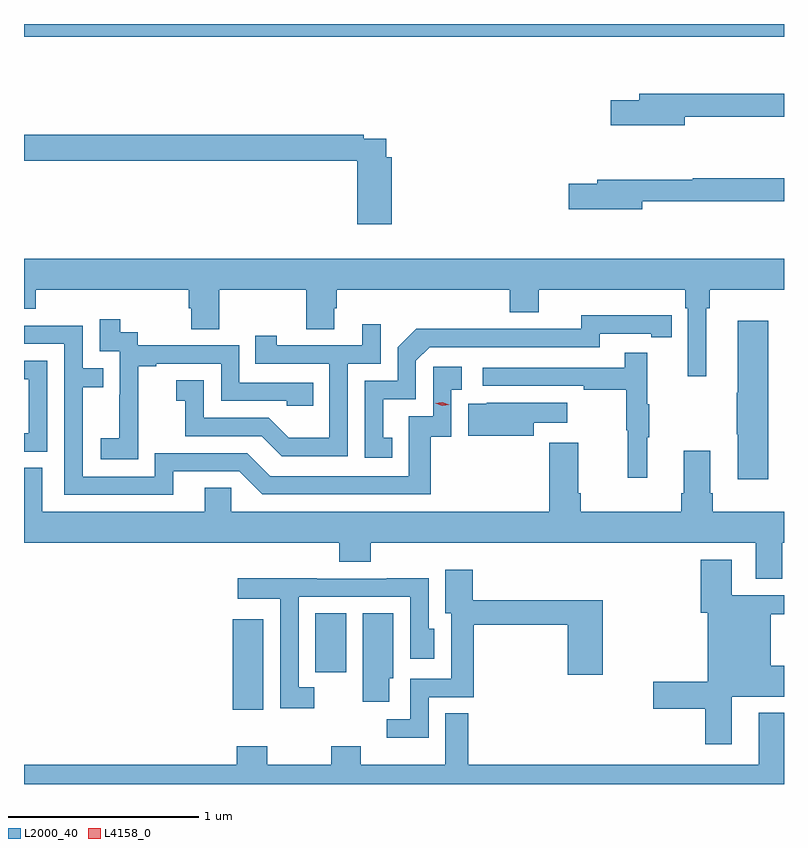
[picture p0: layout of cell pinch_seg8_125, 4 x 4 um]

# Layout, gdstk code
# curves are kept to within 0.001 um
import gdstk
lib = gdstk.Library(unit=1e-6, precision=1e-09)
def R(c, l, rs):  # rectangles x0, y0, x1, y1
    for r in rs: c.add(gdstk.rectangle(r[:2], r[2:], *l))
def P(c, l, *ps):  # polygons
    for p in ps: c.add(gdstk.Polygon(p, *l))
L2000_40 = (2000, 40)
L4158_0 = (4158, 0)

pinch_seg8_125 = lib.new_cell('pinch_seg8_125')
R(pinch_seg8_125, L2000_40, [(744.542,1154.25,744.703,1154.725), (744.977,1154.448,745.138,1154.759), (743.443,1157.792,747.443,1157.859)])
P(pinch_seg8_125, L2000_40, [(746.92,1157.37),(747.443,1157.37),(747.443,1157.491),(746.681,1157.491),(746.681,1157.457),(746.532,1157.457),(746.532,1157.327),(746.92,1157.327)],
  [(745.379,1157.158),(745.349,1157.158),(745.349,1157.256),(745.232,1157.256),(745.232,1157.276),(743.443,1157.276),(743.443,1157.14),(745.196,1157.14),(745.196,1156.806),(745.379,1156.806)],
  [(746.698,1156.926),(747.443,1156.926),(747.443,1157.047),(746.963,1157.047),(746.963,1157.039),(746.459,1157.039),(746.459,1157.018),(746.31,1157.018),(746.31,1156.883),(746.698,1156.883)],
  [(747.034,1156.364),(747.053,1156.364),(747.053,1156.46),(747.443,1156.46),(747.443,1156.624),(743.443,1156.624),(743.443,1156.361),(743.504,1156.361),(743.504,1156.46),(744.311,1156.46),(744.311,1156.362),(744.323,1156.362),(744.323,1156.252),(744.471,1156.252),(744.471,1156.46),(744.928,1156.46),(744.928,1156.252),(745.075,1156.252),(745.075,1156.362),(745.088,1156.362),(745.088,1156.46),(746,1156.46),(746,1156.343),(746.152,1156.343),(746.152,1156.46),(746.924,1156.46),(746.924,1156.364),(746.937,1156.364),(746.937,1156.005),(747.034,1156.005)],
  [(745.382,1155.681),(745.333,1155.681),(745.333,1155.885),(745.506,1155.885),(745.506,1156.086),(745.578,1156.158),(746.472,1156.158),(746.472,1156.23),(746.744,1156.23),(746.744,1156.21),(746.852,1156.21),(746.852,1156.326),(746.376,1156.327),(746.376,1156.254),(745.916,1156.254),(745.916,1156.256),(745.508,1156.256),(745.41,1156.158),(745.41,1155.981),(745.236,1155.981),(745.236,1155.576),(745.382,1155.576)],
  [(744.045,1155.775),(744.044,1155.775),(744.044,1156.059),(744.139,1156.059),(744.139,1156.071),(744.48,1156.071),(744.48,1155.876),(744.825,1155.876),(744.825,1155.849),(744.965,1155.849),(744.965,1155.972),(744.576,1155.972),(744.576,1156.167),(744.042,1156.167),(744.042,1156.236),(743.95,1156.236),(743.95,1156.306),(743.841,1156.306),(743.841,1156.137),(743.946,1156.137),(743.946,1155.908),(743.945,1155.908),(743.945,1155.679),(743.847,1155.679),(743.847,1155.569),(744.045,1155.569)],
  [(747.359,1156.297),(747.2,1156.297),(747.2,1155.917),(747.193,1155.917),(747.193,1155.7),(747.2,1155.7),(747.2,1155.462),(747.359,1155.462)],
  [(745.146,1156.071),(745.32,1156.071),(745.32,1156.279),(745.223,1156.279),(745.223,1156.167),(744.772,1156.167),(744.772,1156.219),(744.661,1156.219),(744.661,1156.071),(745.05,1156.071),(745.05,1155.682),(744.836,1155.682),(744.732,1155.786),(744.39,1155.786),(744.39,1155.985),(744.243,1155.985),(744.243,1155.875),(744.292,1155.875),(744.292,1155.69),(744.695,1155.69),(744.8,1155.585),(745.146,1155.585)],
  [(744.229,1155.504),(744.576,1155.504),(744.696,1155.384),(745.583,1155.384),(745.583,1155.687),(745.692,1155.687),(745.692,1155.934),(745.747,1155.934),(745.747,1156.054),(745.596,1156.054),(745.596,1155.795),(745.467,1155.795),(745.467,1155.48),(744.738,1155.48),(744.618,1155.6),(744.132,1155.6),(744.132,1155.477),(743.751,1155.477),(743.751,1155.946),(743.861,1155.946),(743.861,1156.047),(743.751,1156.047),(743.751,1156.272),(743.443,1156.272),(743.443,1156.176),(743.655,1156.176),(743.655,1155.381),(744.229,1155.381)],
  [(746.723,1155.683),(746.734,1155.683),(746.734,1155.857),(746.723,1155.857),(746.723,1156.129),(746.605,1156.129),(746.605,1156.05),(745.857,1156.05),(745.857,1155.954),(746.389,1155.954),(746.389,1155.934),(746.613,1155.934),(746.613,1155.72),(746.62,1155.72),(746.62,1155.471),(746.723,1155.471)],
  [(743.565,1156.086),(743.443,1156.086),(743.443,1155.99),(743.469,1155.99),(743.469,1155.705),(743.443,1155.705),(743.443,1155.609),(743.565,1155.609)],
  [(746.125,1155.761),(746.302,1155.761),(746.302,1155.865),(745.878,1155.865),(745.878,1155.861),(745.782,1155.861),(745.782,1155.692),(746.125,1155.692)],
  [(747.433,1155.128),(747.443,1155.128),(747.443,1155.292),(747.068,1155.292),(747.068,1155.388),(747.055,1155.388),(747.055,1155.613),(746.915,1155.613),(746.915,1155.388),(746.903,1155.388),(746.903,1155.292),(746.372,1155.292),(746.372,1155.388),(746.359,1155.388),(746.359,1155.655),(746.207,1155.655),(746.207,1155.292),(744.534,1155.292),(744.534,1155.419),(744.395,1155.419),(744.395,1155.292),(743.539,1155.292),(743.539,1155.524),(743.443,1155.524),(743.443,1155.128),(745.103,1155.128),(745.103,1155.029),(745.268,1155.029),(745.268,1155.128),(747.293,1155.128),(747.293,1154.938),(747.433,1154.938)],
  [(747.169,1154.318),(747.443,1154.318),(747.443,1154.482),(747.373,1154.482),(747.373,1154.752),(747.443,1154.752),(747.443,1154.853),(747.169,1154.853),(747.169,1155.04),(747.005,1155.04),(747.005,1154.76),(747.041,1154.76),(747.041,1154.396),(746.754,1154.396),(746.754,1154.254),(747.029,1154.254),(747.029,1154.067),(747.169,1154.067)],
  [(745.572,1154.316),(745.81,1154.316),(745.81,1154.698),(746.306,1154.698),(746.306,1154.433),(746.489,1154.433),(746.489,1154.827),(745.805,1154.827),(745.805,1154.986),(745.661,1154.986),(745.661,1154.757),(745.691,1154.757),(745.691,1154.412),(745.476,1154.412),(745.476,1154.199),(745.353,1154.199),(745.353,1154.102),(745.572,1154.102)],
  [(744.97,1154.367),(744.888,1154.367),(744.888,1154.844),(745.476,1154.844),(745.476,1154.517),(745.603,1154.517),(745.603,1154.676),(745.572,1154.676),(745.572,1154.942),(745.351,1154.942),(745.351,1154.94),(744.985,1154.94),(744.985,1154.942),(744.567,1154.942),(744.567,1154.834),(744.792,1154.834),(744.792,1154.259),(744.97,1154.259)],
  [(745.366,1154.415),(745.387,1154.415),(745.387,1154.759),(745.226,1154.759),(745.226,1154.292),(745.366,1154.292)],
  [(747.443,1154.233),(747.311,1154.233),(747.311,1153.96),(745.78,1153.96),(745.78,1154.231),(745.661,1154.231),(745.661,1153.96),(745.215,1153.96),(745.215,1154.059),(745.06,1154.059),(745.06,1153.96),(744.723,1153.96),(744.723,1154.059),(744.563,1154.059),(744.563,1153.96),(743.443,1153.96),(743.443,1153.859),(747.443,1153.859)])
P(pinch_seg8_125, L4158_0, [(745.643,1155.849),(745.608,1155.863),(745.608,1155.863),(745.608,1155.863),(745.645,1155.869),(745.68,1155.855),(745.68,1155.855),(745.68,1155.855)])

lib.write_gds('pinch_seg8_125.gds')
